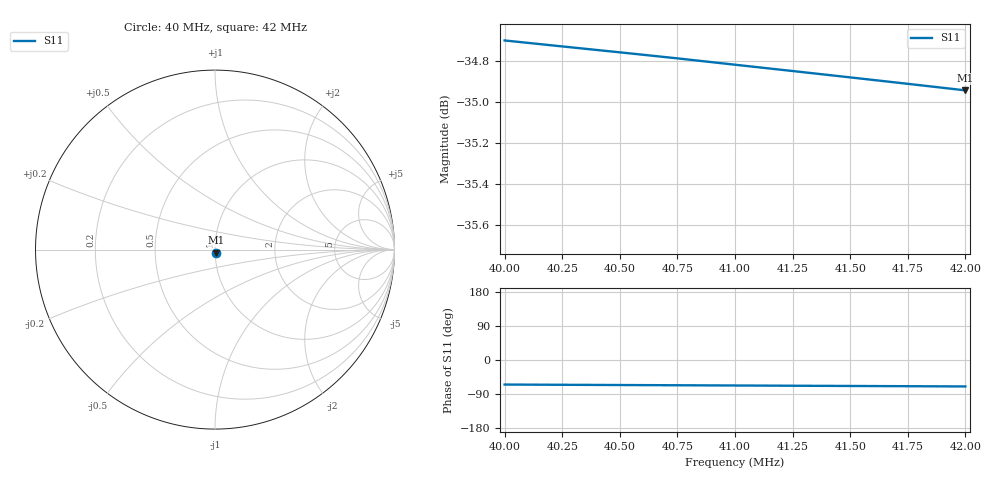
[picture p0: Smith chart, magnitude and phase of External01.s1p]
# Hz S RI R 50
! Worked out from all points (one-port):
!   9 points, 40 MHz to 42 MHz, reference 50 ohm
!   lowest |S11| = -34.9 dB at 42 MHz (marker M1), VSWR 1.04, Z = 50.6 - j1.7 ohm
!   |S11| at or under -10 dB: start of sweep to end of sweep
4e7  0.00784 -0.0167
4.025e7  0.00763 -0.0167
4.05e7  0.00743 -0.0167
4.075e7  0.00722 -0.0167
4.1e7  0.00701 -0.0167
4.125e7  0.00681 -0.0168
4.15e7  0.0066 -0.0168
4.175e7  0.00639 -0.0168
4.2e7  0.00618 -0.0168
